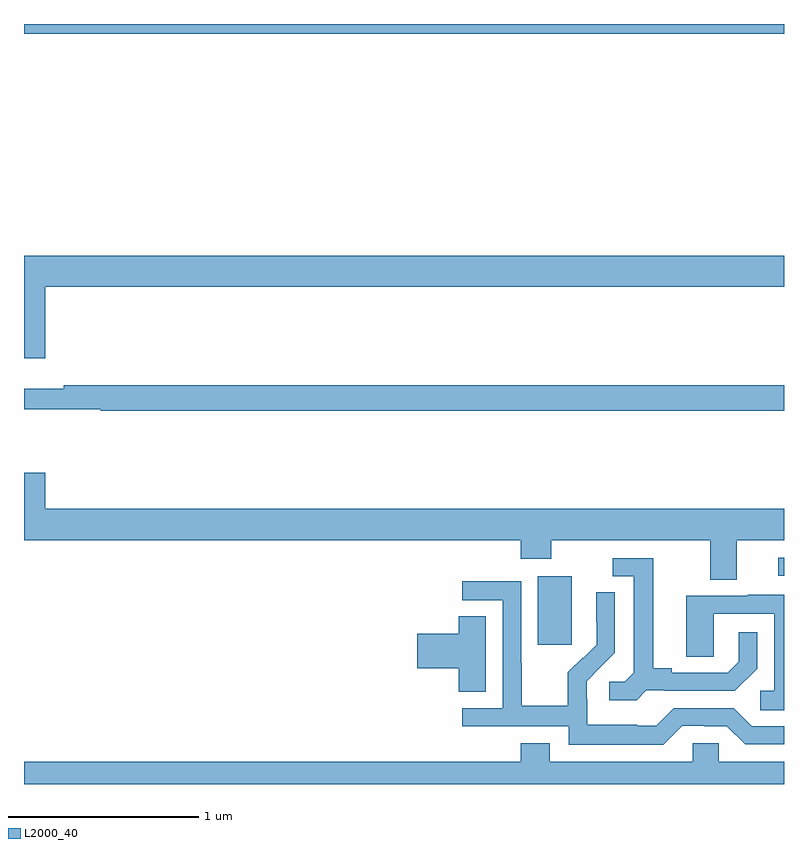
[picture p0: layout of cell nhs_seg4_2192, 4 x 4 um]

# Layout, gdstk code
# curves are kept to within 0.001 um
import gdstk
lib = gdstk.Library(unit=1e-6, precision=1e-09)
def R(c, l, rs):  # rectangles x0, y0, x1, y1
    for r in rs: c.add(gdstk.rectangle(r[:2], r[2:], *l))
def P(c, l, *ps):  # polygons
    for p in ps: c.add(gdstk.Polygon(p, *l))
L2000_40 = (2000, 40)

nhs_seg4_2192 = lib.new_cell('nhs_seg4_2192')
R(nhs_seg4_2192, L2000_40, [(227.705,765.633,227.884,765.994), (228.969,765.996,229,766.092), (225,768.848,229,768.9)])
P(nhs_seg4_2192, L2000_40, [(225.112,767.516),(229,767.516),(229,767.68),(225,767.68),(225,767.142),(225.112,767.142)],
  [(229,767),(225.208,767),(225.208,766.981),(225,766.981),(225,766.872),(225.404,766.872),(225.404,766.864),(229,766.864)],
  [(228.751,766.184),(229,766.184),(229,766.348),(225.112,766.348),(225.112,766.537),(225,766.537),(225,766.184),(227.615,766.184),(227.615,766.085),(227.775,766.085),(227.775,766.184),(228.611,766.184),(228.611,765.976),(228.751,765.976)],
  [(228.276,765.393),(228.37,765.393),(228.37,765.39),(228.742,765.39),(228.858,765.506),(228.858,765.7),(228.761,765.7),(228.761,765.543),(228.704,765.486),(228.409,765.486),(228.409,765.509),(228.313,765.509),(228.313,766.089),(228.099,766.089),(228.099,765.993),(228.209,765.993),(228.209,765.485),(228.162,765.438),(228.081,765.438),(228.081,765.341),(228.224,765.341)],
  [(228.465,765.207),(228.581,765.207),(228.581,765.204),(228.699,765.204),(228.795,765.108),(229,765.108),(229,765.204),(228.831,765.204),(228.735,765.3),(228.42,765.3),(228.327,765.207),(228.227,765.207),(228.227,765.211),(227.964,765.211),(227.964,765.345),(227.962,765.345),(227.962,765.442),(228.108,765.59),(228.108,765.908),(228.012,765.908),(228.012,765.754),(228.014,765.754),(228.014,765.632),(227.943,765.561),(227.94,765.564),(227.863,765.487),(227.863,765.313),(227.619,765.313),(227.619,765.536),(227.616,765.536),(227.616,765.966),(227.307,765.966),(227.307,765.867),(227.52,765.867),(227.52,765.3),(227.307,765.3),(227.307,765.204),(227.868,765.204),(227.868,765.107),(228.365,765.107)],
  [(229,765.895),(228.809,765.895),(228.809,765.891),(228.485,765.891),(228.485,765.571),(228.63,765.571),(228.63,765.795),(228.948,765.795),(228.948,765.39),(228.876,765.39),(228.876,765.289),(229,765.289)],
  [(227.431,765.782),(227.288,765.782),(227.288,765.692),(227.07,765.692),(227.07,765.509),(227.288,765.509),(227.288,765.385),(227.431,765.385)],
  [(229,765.016),(228.657,765.016),(228.657,765.114),(228.519,765.114),(228.519,765.016),(227.767,765.016),(227.767,765.115),(227.615,765.115),(227.615,765.016),(225,765.016),(225,764.9),(229,764.9)])

lib.write_gds('nhs_seg4_2192.gds')
